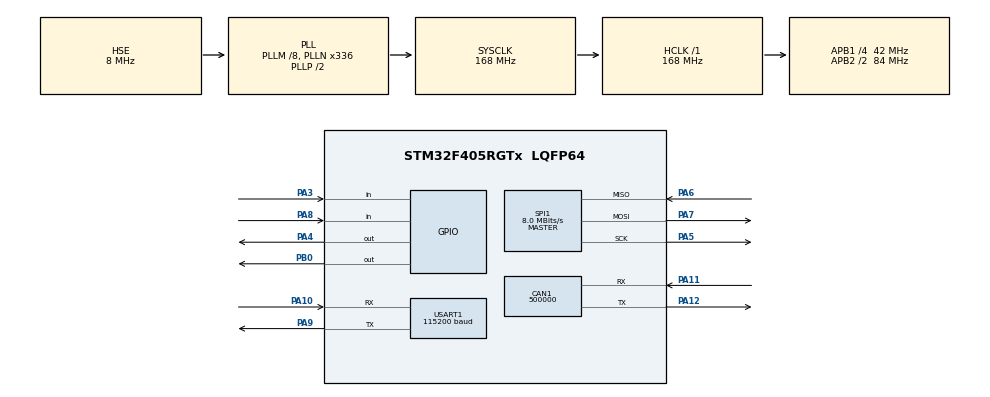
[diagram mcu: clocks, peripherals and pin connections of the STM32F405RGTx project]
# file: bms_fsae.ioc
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ADC1.Channel-1\#ChannelRegularConversion=ADC_CHANNEL_1
ADC1.Channel-2\#ChannelRegularConversion=ADC_CHANNEL_2
ADC1.ContinuousConvMode=DISABLE
ADC1.DMAContinuousRequests=ENABLE
ADC1.ExternalTrigConv=ADC_EXTERNALTRIGCONV_T2_TRGO
ADC1.ExternalTrigConvEdge=ADC_EXTERNALTRIGCONVEDGE_RISING
ADC1.InjNumberOfConversion=0
ADC1.NbrOfConversion=2
ADC1.NbrOfConversionFlag=1
ADC1.Rank-1\#ChannelRegularConversion=1
ADC1.Rank-2\#ChannelRegularConversion=2
ADC1.SamplingTime-1\#ChannelRegularConversion=ADC_SAMPLETIME_84CYCLES
ADC1.master=1
CAN1.CalculateBaudRate=500000
CAN1.CalculateTimeBit=2000
CAN1.CalculateTimeQuantum=142.85714285714286
FREERTOS.Tasks01=defaultTask,24,128,StartDefaultTask,Default,NULL,Dynamic,NULL,NULL
FREERTOS.configUSE_NEWLIB_REENTRANT=1
Dma.ADC1.0.Channel=DMA_CHANNEL_0
Dma.ADC1.0.Direction=DMA_PERIPH_TO_MEMORY
Dma.ADC1.0.FIFOMode=DMA_FIFOMODE_DISABLE
Dma.ADC1.0.Instance=DMA2_Stream0
Dma.ADC1.0.MemDataAlignment=DMA_MDATAALIGN_HALFWORD
Dma.ADC1.0.MemInc=DMA_MINC_ENABLE
Dma.ADC1.0.Mode=DMA_CIRCULAR
Dma.ADC1.0.PeriphDataAlignment=DMA_PDATAALIGN_HALFWORD
Dma.ADC1.0.PeriphInc=DMA_PINC_DISABLE
Dma.ADC1.0.Priority=DMA_PRIORITY_HIGH
Dma.Request0=ADC1
Dma.Request1=SPI1_RX
Dma.Request2=SPI1_TX
Dma.SPI1_RX.1.Channel=DMA_CHANNEL_3
Dma.SPI1_RX.1.Direction=DMA_PERIPH_TO_MEMORY
Dma.SPI1_RX.1.FIFOMode=DMA_FIFOMODE_DISABLE
Dma.SPI1_RX.1.Instance=DMA2_Stream2
Dma.SPI1_RX.1.MemDataAlignment=DMA_MDATAALIGN_BYTE
Dma.SPI1_RX.1.MemInc=DMA_MINC_ENABLE
Dma.SPI1_RX.1.Mode=DMA_NORMAL
Dma.SPI1_RX.1.PeriphDataAlignment=DMA_PDATAALIGN_BYTE
Dma.SPI1_RX.1.PeriphInc=DMA_PINC_DISABLE
Dma.SPI1_RX.1.Priority=DMA_PRIORITY_VERY_HIGH
Dma.SPI1_TX.2.Channel=DMA_CHANNEL_3
Dma.SPI1_TX.2.Direction=DMA_MEMORY_TO_PERIPH
Dma.SPI1_TX.2.FIFOMode=DMA_FIFOMODE_DISABLE
Dma.SPI1_TX.2.Instance=DMA2_Stream3
Dma.SPI1_TX.2.MemDataAlignment=DMA_MDATAALIGN_BYTE
Dma.SPI1_TX.2.MemInc=DMA_MINC_ENABLE
Dma.SPI1_TX.2.Mode=DMA_NORMAL
Dma.SPI1_TX.2.PeriphDataAlignment=DMA_PDATAALIGN_BYTE
Dma.SPI1_TX.2.PeriphInc=DMA_PINC_DISABLE
Dma.SPI1_TX.2.Priority=DMA_PRIORITY_VERY_HIGH
Mcu.Family=STM32F4
Mcu.Name=STM32F405RGTx
Mcu.Package=LQFP64
NVIC.ADC_IRQn=true\:5\:0\:false\:false\:true\:true\:true\:true\:true
NVIC.CAN1_RX0_IRQn=true\:5\:0\:false\:false\:true\:true\:true\:true\:true
NVIC.CAN1_SCE_IRQn=true\:5\:0\:false\:false\:true\:true\:true\:true\:true
NVIC.DMA2_Stream0_IRQn=true\:5\:0\:false\:false\:true\:true\:true\:true\:true
NVIC.DMA2_Stream2_IRQn=true\:5\:0\:false\:false\:true\:true\:true\:true\:true
NVIC.DMA2_Stream3_IRQn=true\:5\:0\:false\:false\:true\:true\:true\:true\:true
NVIC.PriorityGroup=NVIC_PRIORITYGROUP_4
NVIC.SPI1_IRQn=true\:5\:0\:false\:false\:true\:true\:true\:true\:true
NVIC.TIM6_DAC_IRQn=true\:15\:0\:false\:false\:true\:false\:false\:true\:true
NVIC.TimeBase=TIM6_DAC_IRQn
NVIC.TimeBaseIP=TIM6
NVIC.USART1_IRQn=true\:5\:0\:false\:false\:true\:true\:true\:true\:true
PA1.Signal=ADC1_IN1
PA2.Signal=ADC1_IN2
PA3.Mode=GPIO_Input
PA3.Signal=GPIO_Input
PA11.Mode=CAN_Activate
PA11.Signal=CAN1_RX
PA12.Mode=CAN_Activate
PA12.Signal=CAN1_TX
PA13.Mode=Trace_Asynchronous_SW
PA13.Signal=SYS_JTMS-SWDIO
PA14.Mode=Trace_Asynchronous_SW
PA14.Signal=SYS_JTCK-SWCLK
PA4.Mode=GPIO_Output
PA4.Signal=GPIO_Output
PA5.Mode=Full_Duplex_Master
PA5.Signal=SPI1_SCK
PA6.Mode=Full_Duplex_Master
PA6.Signal=SPI1_MISO
PA7.Mode=Full_Duplex_Master
PA7.Signal=SPI1_MOSI
PA8.Mode=GPIO_Input
PA8.Signal=GPIO_Input
PA9.Mode=Asynchronous
PA9.Signal=USART1_TX
PA10.Mode=Asynchronous
PA10.Signal=USART1_RX
PB0.Mode=GPIO_Output
PB0.Signal=GPIO_Output
PB3.Mode=Trace_Asynchronous_SW
PB3.Signal=SYS_JTDO-SWO
PH0-OSC_IN.Mode=HSE-External-Oscillator
PH0-OSC_IN.Signal=RCC_OSC_IN
PH1-OSC_OUT.Mode=HSE-External-Oscillator
PH1-OSC_OUT.Signal=RCC_OSC_OUT
ProjectManager.HeapSize=0x200
ProjectManager.StackSize=0x400
ProjectManager.TargetToolchain=STM32CubeIDE
TIM2.MasterOutputTrigger=TIM_TRGO_UPDATE
TIM2.Period=999
TIM2.Prescaler=83
RCC.AHBFreq_Value=168000000
RCC.APB1Freq_Value=42000000
RCC.APB2Freq_Value=84000000
RCC.CortexFreq_Value=168000000
RCC.HSE_VALUE=8000000
RCC.HSI_VALUE=16000000
RCC.LSE_VALUE=32768
RCC.PLLSource=RCC_PLLSOURCE_HSE
RCC.PLLSourceVirtualString=RCC_PLLSOURCE_HSE
RCC.SYSCLKFreq_VALUE=168000000
RCC.VCOOutputFreq_Value=336000000
SH.ADCx_IN1.0=ADC1_IN1,IN1
SH.ADCx_IN2.0=ADC1_IN2,IN2
SPI1.CalculateBaudRate=8.0 MBits/s
SPI1.Direction=SPI_DIRECTION_2LINES
SPI1.Mode=SPI_MODE_MASTER
SPI1.VirtualNSS=VM_NSSSOFT
SPI1.VirtualType=VM_MASTER
USART1.BaudRate=115200
USART1.VirtualMode=VM_ASYNC
VP_FREERTOS_VS_CMSIS_V2.Mode=CMSIS_V2
VP_IWDG_VS_IWDG.Mode=IWDG_Activate
VP_SYS_VS_tim6.Mode=TIM6
board=custom

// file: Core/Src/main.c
/* USER CODE BEGIN Header */
/**
  ******************************************************************************
  * @file           : main.c
  * @brief          : Main program body
  ******************************************************************************
  * @attention
  *
  * Copyright (c) 2025 STMicroelectronics.
  * All rights reserved.
  *
  * This software is licensed under terms that can be found in the LICENSE file
  * in the root directory of this software component.
  * If no LICENSE file comes with this software, it is provided AS-IS.
  *
  ******************************************************************************
  */
/* USER CODE END Header */
#include "main.h"
#include "cmsis_os.h"
#include "app.h"

/* USER CODE BEGIN Includes */
#include "Peripherals/adc.h"
#include "Ams/ams_config.h"
#include "Ams/ams_persistence.h"
#include "Peripherals/bms_summary_config.h"
#include "Tasks/CAN/bms_config_task.h"
#include "Ams/bq79600_bridge.h"
#include "Peripherals/can_bus.h"
#include "Peripherals/digital_pins.h"
#include "Tasks/Critical/ams_cycle_task.h"
#include "stm32f4xx_hal_adc.h"
/* USER CODE END Includes */

ADC_HandleTypeDef hadc1;
DMA_HandleTypeDef hdma_adc1;

CAN_HandleTypeDef hcan1;

IWDG_HandleTypeDef hiwdg;

SPI_HandleTypeDef hspi1;
DMA_HandleTypeDef hdma_spi1_rx;
DMA_HandleTypeDef hdma_spi1_tx;

TIM_HandleTypeDef htim2;

UART_HandleTypeDef huart1;

/* Definitions for defaultTask */
// osThreadId_t defaultTaskHandle;
// const osThreadAttr_t defaultTask_attributes = {
//   .name = "defaultTask",
//   .stack_size = 128 * 4,
//   .priority = (osPriority_t) osPriorityNormal,
// };

void SystemClock_Config(void);
static void MX_GPIO_Init(void);
static void MX_ADC1_Init(void);
static void MX_CAN1_Init(void);
static void MX_IWDG_Init(void);
static void MX_SPI1_Init(void);
static void MX_TIM2_Init(void);
static void MX_USART1_UART_Init(void);
void StartDefaultTask(void *argument);

int main(void)
{

  /* MCU Configuration--------------------------------------------------------*/

  /* Reset of all peripherals, Initializes the Flash interface and the Systick. */
  HAL_Init();

  /* Configure the system clock */
  SystemClock_Config();

  /* USER CODE BEGIN SysInit */
#ifdef DEBUG
  /* Stop the IWDG while the core is halted so breakpoints do not reset. */
  __HAL_DBGMCU_FREEZE_IWDG();
#endif
  /* USER CODE END SysInit */

  /* Initialize all configured peripherals */
  MX_GPIO_Init();
#if AMS_IWDG_ENABLE
  /* Cover every subsequent peripheral/task initialization failure. Hardware
   * must independently keep the SDC open throughout reset and boot. */
  MX_IWDG_Init();
#endif
  MX_ADC1_Init();
  MX_TIM2_Init();
  MX_CAN1_Init();
  MX_SPI1_Init();
  MX_USART1_UART_Init();
  /* USER CODE BEGIN 2 */
  /* Topology is required by auto-addressing, so load the persisted runtime
   * configuration before bringing the daisy chain online. */
  ams_config_load_defaults(&app.config);
  bms_summary_config_load_defaults(&app.summary_config);
  app.initial_soc_permille = 500U;
  (void)ams_persistence_load(&app.config, &app.summary_config,
      &app.initial_soc_permille, NULL);
  ams_afe_bring_up(&app);
  if (app.afe_bringup_status != (uint8_t)BQ79600_BRINGUP_OK)
  {
    /* The critical task will latch the AFE communication fault. Keep booting
     * so CAN can report the failure while all safety outputs remain off. */
    app.active_faults |= AMS_FAULT_AFE_COMMUNICATION;
  }
  adc_acquisition_init();
  if (HAL_ADC_Start_DMA(&hadc1, (uint32_t*)adc_dma_buffer,
      ADC_DMA_BUFFER_COUNT) != HAL_OK ||
      HAL_TIM_Base_Start(&htim2) != HAL_OK)
  {
    Error_Handler();
  }
  /* USER CODE END 2 */

  /* Init scheduler */
  osKernelInitialize();

  /* Create the thread(s) */
  /* USER CODE BEGIN RTOS_THREADS */
  create_app();
  /* CAN is diagnostic-only at this stage. Incoming frames are not accepted as
   * safety-authoritative inputs. */
  if (bms_can_configure_rx_filter(&hcan1) != HAL_OK ||
      HAL_CAN_Start(&hcan1) != HAL_OK ||
      HAL_CAN_ActivateNotification(&hcan1,
          CAN_IT_RX_FIFO0_MSG_PENDING | CAN_IT_ERROR | CAN_IT_BUSOFF) != HAL_OK)
  {
    Error_Handler();
  }
  /* All configured peripherals, queues, tasks, ADC acquisition, and CAN
   * reception are established. State-machine torque enable remains gated by
   * this flag and by its independent runtime prerequisites. */
  app.boot_healthy = 1U;
  /* USER CODE END RTOS_THREADS */

  /* Start scheduler */
  osKernelStart();

  /* We should never get here as control is now taken by the scheduler */

  /* Infinite loop */
  while (1)
  {

  }
}

void SystemClock_Config(void)
{
  RCC_OscInitTypeDef RCC_OscInitStruct = {0};
  RCC_ClkInitTypeDef RCC_ClkInitStruct = {0};

  /** Configure the main internal regulator output voltage
  */
  __HAL_RCC_PWR_CLK_ENABLE();
  __HAL_PWR_VOLTAGESCALING_CONFIG(PWR_REGULATOR_VOLTAGE_SCALE1);

  /** Initializes the RCC Oscillators according to the specified parameters
  * in the RCC_OscInitTypeDef structure.
  */
  RCC_OscInitStruct.OscillatorType = RCC_OSCILLATORTYPE_HSE|RCC_OSCILLATORTYPE_LSI;
  RCC_OscInitStruct.HSEState = RCC_HSE_ON;
  RCC_OscInitStruct.LSIState = RCC_LSI_ON;
  RCC_OscInitStruct.PLL.PLLState = RCC_PLL_ON;
  RCC_OscInitStruct.PLL.PLLSource = RCC_PLLSOURCE_HSE;
  RCC_OscInitStruct.PLL.PLLM = 8;
  /* Board baseline: 8 MHz HSE / 8 * 336 / 2 = 168 MHz SYSCLK. */
  RCC_OscInitStruct.PLL.PLLN = 336;
  RCC_OscInitStruct.PLL.PLLP = RCC_PLLP_DIV2;
  RCC_OscInitStruct.PLL.PLLQ = 7;
  if (HAL_RCC_OscConfig(&RCC_OscInitStruct) != HAL_OK)
  {
    Error_Handler();
  }

  /** Initializes the CPU, AHB and APB buses clocks
  */
  RCC_ClkInitStruct.ClockType = RCC_CLOCKTYPE_HCLK|RCC_CLOCKTYPE_SYSCLK
                              |RCC_CLOCKTYPE_PCLK1|RCC_CLOCKTYPE_PCLK2;
  RCC_ClkInitStruct.SYSCLKSource = RCC_SYSCLKSOURCE_PLLCLK;
  RCC_ClkInitStruct.AHBCLKDivider = RCC_SYSCLK_DIV1;
  RCC_ClkInitStruct.APB1CLKDivider = RCC_HCLK_DIV4;
  RCC_ClkInitStruct.APB2CLKDivider = RCC_HCLK_DIV2;

  if (HAL_RCC_ClockConfig(&RCC_ClkInitStruct, FLASH_LATENCY_5) != HAL_OK)
  {
    Error_Handler();
  }
}

static void MX_ADC1_Init(void)
{

  ADC_ChannelConfTypeDef sConfig = {0};

  /** Configure the global features of the ADC (Clock, Resolution, Data Alignment and number of conversion)
  */
  hadc1.Instance = ADC1;
  /* PCLK2 is 84 MHz; /4 keeps the ADC clock within the F405 limit. */
  hadc1.Init.ClockPrescaler = ADC_CLOCK_SYNC_PCLK_DIV4;
  hadc1.Init.Resolution = ADC_RESOLUTION_12B;
  hadc1.Init.ScanConvMode = ENABLE;
  hadc1.Init.ContinuousConvMode = DISABLE;
  hadc1.Init.DiscontinuousConvMode = DISABLE;
  hadc1.Init.ExternalTrigConvEdge = ADC_EXTERNALTRIGCONVEDGE_RISING;
  hadc1.Init.ExternalTrigConv = ADC_EXTERNALTRIGCONV_T2_TRGO;
  hadc1.Init.DataAlign = ADC_DATAALIGN_RIGHT;
  hadc1.Init.NbrOfConversion = ADC_CHANNEL_COUNT;
  hadc1.Init.DMAContinuousRequests = ENABLE;
  hadc1.Init.EOCSelection = ADC_EOC_SEQ_CONV;
  if (HAL_ADC_Init(&hadc1) != HAL_OK)
  {
    Error_Handler();
  }

  /** Configure for the selected ADC regular channel its corresponding rank in the sequencer and its sample time.
  */
  sConfig.SamplingTime = ADC_SAMPLETIME_84CYCLES;
  const uint32_t adc_channels[ADC_CHANNEL_COUNT] = {
    ADC_CHANNEL_1, ADC_CHANNEL_2
  };
  for (uint32_t rank = 0; rank < ADC_CHANNEL_COUNT; rank++)
  {
    sConfig.Channel = adc_channels[rank];
    sConfig.Rank = rank + 1U;
    if (HAL_ADC_ConfigChannel(&hadc1, &sConfig) != HAL_OK)
    {
      Error_Handler();
    }
  }

}

static void MX_CAN1_Init(void)
{

  hcan1.Instance = CAN1;
  /* 42 MHz PCLK1 / (6 * (1 + 11 + 2)) = 500 kbit/s. */
  hcan1.Init.Prescaler = 6;
  hcan1.Init.Mode = CAN_MODE_NORMAL;
  hcan1.Init.SyncJumpWidth = CAN_SJW_1TQ;
  hcan1.Init.TimeSeg1 = CAN_BS1_11TQ;
  hcan1.Init.TimeSeg2 = CAN_BS2_2TQ;
  hcan1.Init.TimeTriggeredMode = DISABLE;
  hcan1.Init.AutoBusOff = ENABLE;
  hcan1.Init.AutoWakeUp = DISABLE;
  hcan1.Init.AutoRetransmission = ENABLE;
  hcan1.Init.ReceiveFifoLocked = DISABLE;
  hcan1.Init.TransmitFifoPriority = DISABLE;
  if (HAL_CAN_Init(&hcan1) != HAL_OK)
  {
    Error_Handler();
  }

}

static void MX_TIM2_Init(void)
{
  TIM_ClockConfigTypeDef sClockSourceConfig = {0};
  TIM_MasterConfigTypeDef sMasterConfig = {0};

  /* APB1 timer clock is 84 MHz: /84 /1000 = 1 kHz update/TRGO. */
  htim2.Instance = TIM2;
  htim2.Init.Prescaler = 83;
  htim2.Init.CounterMode = TIM_COUNTERMODE_UP;
  htim2.Init.Period = 999;
  htim2.Init.ClockDivision = TIM_CLOCKDIVISION_DIV1;
  htim2.Init.AutoReloadPreload = TIM_AUTORELOAD_PRELOAD_DISABLE;
  if (HAL_TIM_Base_Init(&htim2) != HAL_OK)
  {
    Error_Handler();
  }
  sClockSourceConfig.ClockSource = TIM_CLOCKSOURCE_INTERNAL;
  if (HAL_TIM_ConfigClockSource(&htim2, &sClockSourceConfig) != HAL_OK)
  {
    Error_Handler();
  }
  sMasterConfig.MasterOutputTrigger = TIM_TRGO_UPDATE;
  sMasterConfig.MasterSlaveMode = TIM_MASTERSLAVEMODE_DISABLE;
  if (HAL_TIMEx_MasterConfigSynchronization(&htim2, &sMasterConfig) != HAL_OK)
  {
    Error_Handler();
  }
}

static void MX_IWDG_Init(void)
{

  hiwdg.Instance = IWDG;
  /* Nominally about 8.2 s at a 32 kHz LSI; the supervisor window is 3 s. */
  hiwdg.Init.Prescaler = IWDG_PRESCALER_64;
  hiwdg.Init.Reload = 4095;
  if (HAL_IWDG_Init(&hiwdg) != HAL_OK)
  {
    Error_Handler();
  }

}

static void MX_SPI1_Init(void)
{

  /* SPI1 parameter configuration*/
  hspi1.Instance = SPI1;
  hspi1.Init.Mode = SPI_MODE_MASTER;
  hspi1.Init.Direction = SPI_DIRECTION_2LINES;
  hspi1.Init.DataSize = SPI_DATASIZE_8BIT;
  hspi1.Init.CLKPolarity = SPI_POLARITY_LOW;
  hspi1.Init.CLKPhase = SPI_PHASE_1EDGE;
  hspi1.Init.NSS = SPI_NSS_SOFT;
  /* APB2 is 84 MHz; /16 = 5.25 MHz, inside the BQ79600 2-6 MHz
   * bring-up range. */
  hspi1.Init.BaudRatePrescaler = SPI_BAUDRATEPRESCALER_16;
  hspi1.Init.FirstBit = SPI_FIRSTBIT_MSB;
  hspi1.Init.TIMode = SPI_TIMODE_DISABLE;
  hspi1.Init.CRCCalculation = SPI_CRCCALCULATION_DISABLE;
  hspi1.Init.CRCPolynomial = 10;
  if (HAL_SPI_Init(&hspi1) != HAL_OK)
  {
    Error_Handler();
  }

}

static void MX_USART1_UART_Init(void)
{

  /* J5 diagnostic console. APB2 is 84 MHz, so 115200 baud is 0.02 % off. */
  huart1.Instance = USART1;
  huart1.Init.BaudRate = 115200;
  huart1.Init.WordLength = UART_WORDLENGTH_8B;
  huart1.Init.StopBits = UART_STOPBITS_1;
  huart1.Init.Parity = UART_PARITY_NONE;
  huart1.Init.Mode = UART_MODE_TX_RX;
  huart1.Init.HwFlowCtl = UART_HWCONTROL_NONE;
  huart1.Init.OverSampling = UART_OVERSAMPLING_16;
  if (HAL_UART_Init(&huart1) != HAL_OK)
  {
    Error_Handler();
  }

}

static void MX_GPIO_Init(void)
{
  GPIO_InitTypeDef GPIO_InitStruct = {0};

  /* GPIO Ports Clock Enable */
  __HAL_RCC_GPIOA_CLK_ENABLE();
  __HAL_RCC_GPIOB_CLK_ENABLE();
  __HAL_RCC_GPIOC_CLK_ENABLE();

  HAL_GPIO_WritePin(GPIOB, AMS_STATUS_LED_PIN | AMS_CP_CONTROL_PIN |
      AMS_DISCHARGE_ENABLE_PIN | AMS_CHARGE_ENABLE_PIN |
      AMS_FAN_ENABLE_PIN, GPIO_PIN_RESET);
  HAL_GPIO_WritePin(AMS_AFE_CS_GPIO_PORT, AMS_AFE_CS_PIN, GPIO_PIN_SET);

  GPIO_InitStruct.Pin = AMS_STATUS_LED_PIN | AMS_CP_CONTROL_PIN |
      AMS_DISCHARGE_ENABLE_PIN | AMS_CHARGE_ENABLE_PIN |
      AMS_FAN_ENABLE_PIN;
  GPIO_InitStruct.Mode = GPIO_MODE_OUTPUT_PP;
  GPIO_InitStruct.Pull = GPIO_NOPULL;
  GPIO_InitStruct.Speed = GPIO_SPEED_FREQ_LOW;
  HAL_GPIO_Init(GPIOB, &GPIO_InitStruct);

  GPIO_InitStruct.Pin = AMS_AFE_CS_PIN;
  GPIO_InitStruct.Mode = GPIO_MODE_OUTPUT_PP;
  GPIO_InitStruct.Pull = GPIO_NOPULL;
  GPIO_InitStruct.Speed = GPIO_SPEED_FREQ_VERY_HIGH;
  HAL_GPIO_Init(AMS_AFE_CS_GPIO_PORT, &GPIO_InitStruct);

  GPIO_InitStruct.Pin = AMS_AFE_SPI_READY_PIN | AMS_AFE_NFAULT_PIN |
      AMS_PROXIMITY_PIN;
  GPIO_InitStruct.Mode = GPIO_MODE_INPUT;
  GPIO_InitStruct.Pull = GPIO_NOPULL;
  HAL_GPIO_Init(GPIOA, &GPIO_InitStruct);

  GPIO_InitStruct.Pin = AMS_CHARGE_ON_PIN;
  GPIO_InitStruct.Mode = GPIO_MODE_INPUT;
  GPIO_InitStruct.Pull = GPIO_NOPULL;
  HAL_GPIO_Init(AMS_CHARGE_ON_GPIO_PORT, &GPIO_InitStruct);

  GPIO_InitStruct.Pin = AMS_CP_DETECT_PIN;
  GPIO_InitStruct.Mode = GPIO_MODE_INPUT;
  GPIO_InitStruct.Pull = GPIO_NOPULL;
  HAL_GPIO_Init(AMS_CP_DETECT_GPIO_PORT, &GPIO_InitStruct);

}

void StartDefaultTask(void *argument)
{
  (void)argument;
  for(;;)
  {
    osDelay(1);
  }
}

void HAL_TIM_PeriodElapsedCallback(TIM_HandleTypeDef *htim)
{
  if (htim->Instance == TIM6)
  {
    HAL_IncTick();
  }
}

void Error_Handler(void)
{
  /* USER CODE BEGIN Error_Handler_Debug */
  __disable_irq();
  app.boot_healthy = 0U;
  app.ams_state = AMS_STATE_FAULT_LATCHED;
  app.active_faults |= AMS_FAULT_INTERNAL;
  app.latched_faults |= AMS_FAULT_INTERNAL;
  app.discharge_enable_request = 0U;
  app.charge_enable_request = 0U;
  app.fan_enable_request = 0U;

  /* Deassert every external low-side control even when failure happened
   * before normal GPIO initialization completed. */
  __HAL_RCC_GPIOB_CLK_ENABLE();
  {
    GPIO_InitTypeDef shutdown_gpio = {0};
    HAL_GPIO_WritePin(GPIOB, AMS_DISCHARGE_ENABLE_PIN |
        AMS_CHARGE_ENABLE_PIN | AMS_FAN_ENABLE_PIN | AMS_CP_CONTROL_PIN,
        GPIO_PIN_RESET);
    shutdown_gpio.Pin = AMS_DISCHARGE_ENABLE_PIN |
        AMS_CHARGE_ENABLE_PIN | AMS_FAN_ENABLE_PIN | AMS_CP_CONTROL_PIN;
    shutdown_gpio.Mode = GPIO_MODE_OUTPUT_PP;
    shutdown_gpio.Pull = GPIO_NOPULL;
    shutdown_gpio.Speed = GPIO_SPEED_FREQ_LOW;
    HAL_GPIO_Init(GPIOB, &shutdown_gpio);
  }

  /* A software reset records RCC_FLAG_SFTRST and avoids an indefinitely hung
   * pre-scheduler processor. The early IWDG remains the fallback if reset does
   * not complete. System-level torque safety must not rely on either reset. */
  NVIC_SystemReset();
  while (1)
  {
  }
  /* USER CODE END Error_Handler_Debug */
}

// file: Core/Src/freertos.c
/* USER CODE BEGIN Header */
/**
  ******************************************************************************
  * File Name          : freertos.c
  * Description        : Code for freertos applications
  ******************************************************************************
  * @attention
  *
  * Copyright (c) 2025 STMicroelectronics.
  * All rights reserved.
  *
  * This software is licensed under terms that can be found in the LICENSE file
  * in the root directory of this software component.
  * If no LICENSE file comes with this software, it is provided AS-IS.
  *
  ******************************************************************************
  */
/* USER CODE END Header */

#include "FreeRTOS.h"
#include "task.h"
#include "main.h"

/* USER CODE BEGIN Application */

void ams_assert_failed(const char *file, int line)
{
  (void)file;
  (void)line;
  Error_Handler();
}

void vApplicationMallocFailedHook(void)
{
  Error_Handler();
}

void vApplicationStackOverflowHook(TaskHandle_t task, char *task_name)
{
  (void)task;
  (void)task_name;
  Error_Handler();
}

/* USER CODE END Application */
